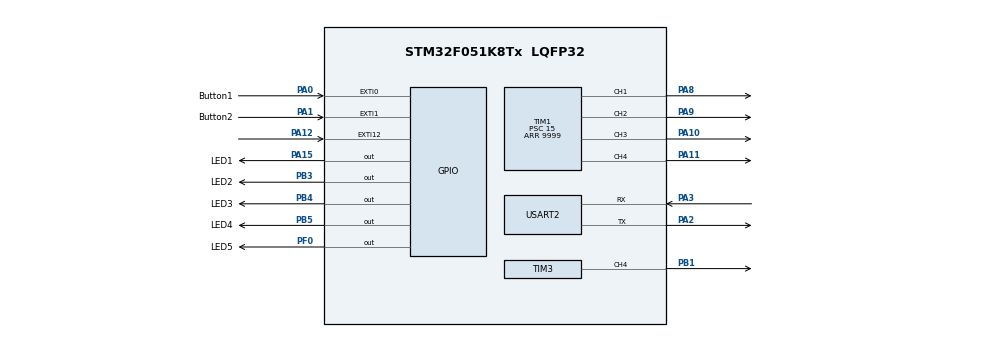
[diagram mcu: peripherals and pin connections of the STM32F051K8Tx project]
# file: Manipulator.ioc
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Mcu.Family=STM32F0
Mcu.Name=STM32F051K8Tx
Mcu.Package=LQFP32
NVIC.USART2_IRQn=true\:0\:0\:false\:false\:true\:true\:true
PA0.GPIO_Label=Button1
PA0.Signal=GPXTI0
PA1.GPIO_Label=Button2
PA1.Signal=GPXTI1
PA10.Signal=S_TIM1_CH3
PA11.Signal=S_TIM1_CH4
PA12.Signal=GPXTI12
PA13.Mode=Serial_Wire
PA13.Signal=SYS_SWDIO
PA14.Mode=Serial_Wire
PA14.Signal=SYS_SWCLK
PA15.GPIO_Label=LED1
PA15.Signal=GPIO_Output
PA2.Mode=Asynchronous
PA2.Signal=USART2_TX
PA3.Mode=Asynchronous
PA3.Signal=USART2_RX
PA8.Signal=S_TIM1_CH1
PA9.Signal=S_TIM1_CH2
PB1.Signal=S_TIM3_CH4
PB3.GPIO_Label=LED2
PB3.Signal=GPIO_Output
PB4.GPIO_Label=LED3
PB4.Signal=GPIO_Output
PB5.GPIO_Label=LED4
PB5.Signal=GPIO_Output
PF0-OSC_IN.GPIO_Label=LED5
PF0-OSC_IN.Signal=GPIO_Output
ProjectManager.HeapSize=0x200
ProjectManager.StackSize=0x400
ProjectManager.TargetToolchain=TrueSTUDIO
SH.S_TIM1_CH1.0=TIM1_CH1,PWM Generation1 CH1
SH.S_TIM1_CH2.0=TIM1_CH2,PWM Generation2 CH2
SH.S_TIM1_CH3.0=TIM1_CH3,PWM Generation3 CH3
SH.S_TIM1_CH4.0=TIM1_CH4,PWM Generation4 CH4
SH.S_TIM3_CH4.0=TIM3_CH4,PWM Generation4 CH4
TIM1.Channel-PWM\ Generation1\ CH1=TIM_CHANNEL_1
TIM1.Channel-PWM\ Generation2\ CH2=TIM_CHANNEL_2
TIM1.Channel-PWM\ Generation3\ CH3=TIM_CHANNEL_3
TIM1.Channel-PWM\ Generation4\ CH4=TIM_CHANNEL_4
TIM1.Period=9999
TIM1.Prescaler=15
TIM1.Pulse-PWM\ Generation1\ CH1=1036
TIM1.Pulse-PWM\ Generation2\ CH2=725
TIM1.Pulse-PWM\ Generation3\ CH3=1097
TIM1.Pulse-PWM\ Generation4\ CH4=1206
TIM3.Channel-PWM\ Generation4\ CH4=TIM_CHANNEL_4
TIM3.Period=9999
TIM3.Prescaler=15
TIM3.Pulse-PWM\ Generation4\ CH4=1000
USART2.VirtualMode-Asynchronous=VM_ASYNC
VP_TIM1_VS_ClockSourceINT.Mode=Internal
VP_TIM3_VS_ClockSourceINT.Mode=Internal
board=custom

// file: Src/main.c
/* USER CODE BEGIN Header */
/**
 ******************************************************************************
 * @file           : main.c
 * @brief          : Main program body
 ******************************************************************************
 * @attention
 *
 * <h2><center>&copy; Copyright (c) 2019 STMicroelectronics.
 * All rights reserved.</center></h2>
 *
 * This software component is licensed by ST under BSD 3-Clause license,
 * the "License"; You may not use this file except in compliance with the
 * License. You may obtain a copy of the License at:
 *                        opensource.org/licenses/BSD-3-Clause
 *
 ******************************************************************************
 */
/* USER CODE END Header */

#include "main.h"
#include "tim.h"
#include "usart.h"
#include "gpio.h"

/* USER CODE BEGIN Includes */
#include <math.h>
/* USER CODE END Includes */

/* USER CODE BEGIN PD */
/*!
	\brief Wysokość podstawy.

	Wysokość podstawy.
*/
#define L1 	5		//Wysokosc podstawy
/*!
	\brief Długość pierwszego członu.

	Długość pierwszego członu.
*/
#define L2 	8.2		//Dlugosc pierwszego czlonu
/*!
	\brief Długość drugiego członu.

	Długość drugiego członu.
*/
#define L3 	7.7		//Dlugosc drugiego czlonu
/*!
	\brief Długość między przegubem, a osią serwomechanizmu od chwytaka.

	Długość między przegubem, a osią serwomechanizmu od chwytaka.
*/
#define L4 	4		//Dlugosc miedzy przegubem, a osia serwa od chwytaka
/*!
	\brief Obniżenie na chwytaku.

	Obniżenie na chwytaku.
*/
#define L5 	2.1		//Obnizenie na chwytaku
/*!
	\brief Długosc między osią serwomechanizmu chwytaka, a punktem chwytu.

	Długosc między osią serwomechanizmu chwytaka, a punktem chwytu.
*/
#define L6 	6		//Dlugosc miedzy osia serwa chwytaka, a punktem chwytu

/* USER CODE END PD */

/* USER CODE BEGIN PV */

/*!
 * \brief Tablica z kolejnymi maksymalnymi wartościami współrzędnej Z.
 *
 * Tablica z kolejnymi maksymalnymi wartościami współrzędnej Z, poczynając od r = 18, aż do r = 27, gdzie r jest długością ramienia
 * od środka podastawy do końca chwytaka.
 */
int16_t MaxymalneZ[] = {19, 19, 19, 18, 17, 16, 15, 13, 11, 9};

/*!
 * \brief Zmienna przechowująca odebrane dane.
 *
 * Zmienna przechowująca odebrane dane.
 */
char rx_data= '0';

/*!
 * \brief Tablica przechowująca dane do wysłania.
 *
 * Tablica przechowująca dane do wysłania.
 */
char tx_data[32];

/*!
 * \brief Flaga ustawiana przy odebraniu danych z USART-a.
 *
 * Flaga ustawiana przy odebraniu danych z USART-a.
 */
volatile uint8_t usart_rx;

/*!
 * \brief Flaga ustawiana po wysłaniu danych z USART-a.
 *
 * Flaga ustawiana po wysłaniu danych z USART-a.
 */
volatile uint8_t usart_tx;

/* USER CODE END PV */

void SystemClock_Config(void);
/* USER CODE BEGIN PFP */

/*!
 *  \brief Funkcja odbierająca jeden znak z USART-a oraz wysyłająca ten sam znak z powrotem.
 *
 *  Funkcja pozwala odebrać jeden znak wysłany z komputera oraz wysłać z powrotem ten sam znak.
 *
 *  \return Znak odebrany od urządzenia zewnętrznego.
 */
char UartEcho(void)
{
	usart_rx= 0;
	HAL_UART_Receive_IT(&huart2,(unsigned char*)&rx_data,1);
	while(!usart_rx);
	usart_tx= 0;
	HAL_UART_Transmit_IT(&huart2,(unsigned char*)&rx_data,1);
	while(!usart_tx);
	return rx_data;
}

/*!
 *  \brief Funkcja pozwalająca wysłać ciąg znaków do zewnętrznego urządzenia (terminalu)
 *
 *  Funkcja pozwalająca wysłać ciąg znaków podanych jako parametr do zewnętrznego urządzenia (terminalu)
 *  \param[in] str - ciąg znaków, które chcemy wysłać.
 *
 *  \return Liczbę nieprzesłanych znaków.
 */
int UartPrint(char * str)
{
	int strsize= sprintf(tx_data,str);
	if(strsize > 0)
	{
		usart_tx= 0;
		HAL_UART_Transmit_IT(&huart2,(unsigned char*)tx_data,strsize);
		while(!usart_tx);
	}
	return strsize;
}

/*!
 *  \brief Funkcja pozwalająca wysłac liczbę całkowitą przez USART-a.
 *
 *  Funkcja pozwalająca wysłać liczbę całkowitą przez USART-a.
 *  \param[in] liczba - Liczba całkowita do wysłania
 *
 *  return Liczbę nieprzesłanych znaków.
 */
int UartPrintInt(int liczba)
{
	char str[12];
	int strsize= sprintf(str,"%d",liczba);
	if(strsize > 0)
		return UartPrint(str);
	return strsize;
}

/*!
 *  \brief Funkcja pozwalająca odebrać liczbę całkowitą.
 *
 *  Funkcja pozwalająca odebrać liczbę całkowitą.
 *  \param[in] num - wskaźnik na zmiennę, do której ma zostac zapisana odebrana liczba.
 *  \param[in] min - minimalna liczba jaką spodziewamy się odbierać.
 *  \param[in] max - maksymalna liczba jaką spodziewamy się odbierać.
 *
 *  \retval 1 - odebrano liczbę.
 *  \retval 0 - w odebranych danych był znak 'x' lub 'ESC'
 */
int UartReadInt( int * num, int min, int max )
{
	int suma= 0;
	char znak= '0';
	uint8_t minus = 0;
	while(znak != '\r' && znak != '\n' && znak != 'u')
	{
		znak= UartEcho();
		if(znak == 27 || znak == 'x')return 0;
		if(znak == '-') minus = 1;
		if(znak >= '0' && znak <= '9' && suma < max)
			suma= suma*10 + znak - '0';
	}
	*num= suma > min ? suma < max ? suma : max : min;
	if(minus == 1) *num = -(*num);
	return 1;
}

/*!
 *  \brief Funkcja obsługująca przerwanie po odebraniu danych.
 *
 *  Funkcja obsługująca przerwanie po odebraniu danych.
 */
void HAL_UART_RxCpltCallback(UART_HandleTypeDef *huart)
{
	usart_rx= 1;
}

/*!
 *  \brief Funkcja obsługująca przerwanie po wysłaniu danych.
 *
 *  Funkcja obsługująca przerwanie po wysłaniu danych.
 */
void HAL_UART_TxCpltCallback(UART_HandleTypeDef *huart)
{
	usart_tx= 1;
}

/*!
 *  \brief Redefinicja funkcji pozwalającej zatrzymać działanie programu na podany czas w milisekundach.
 *
 *  Redefinicja funkcji pozwalającej zatrzymać działanie programu na podany czas w milisekundach.
 *  \param[in] Delay - czas w milisekundach, na który należy wstrzymać działanie programu.
 */
__weak void HAL_Delay(__IO uint32_t Delay)

{

	uint32_t tickstart = 0;

	tickstart = HAL_GetTick();

	while ((HAL_GetTick() - tickstart) < Delay)

	{

	}

}

/*!
 *  \brief Funkcja pozwalająca podnieść pierwszy przegub o zadany kąt.
 *
 *   Funkcja pozwalająca podnieść pierwszy przegub o zadany kąt. Pozwala regulować prędkością tego ruchu, poprzez podzielenie
 *   kąta o jaki należy obrócic przegub na mniejszcze kąty oraz ustalic czas w milisekundach między kolejnymi obrotami o podane
 *   mniejsze kąty.
 *
 *   \param[in] alpha - kąt o jaki należy obrócic przegub.
 *   \param[in] del - przerwa w milisekundach, między kolejnymi obrotami o mniejsze kąty.
 *   \param[in] skok - wartość o jaka będzie się zmieniac wartość w rejestrze pozwalająca określić jak małe będą kąty pośrednie.
 *
 *   \retval 0 - zwraca kiedy funkcja się zakończy.
 */
uint8_t moveAlpha(uint16_t alpha, uint16_t del, uint16_t skok) {
	int pwm = 0;
	int i = 0;

	if(TIM1->CCR4 == 0)
	{
		for (i = 970; i < 1206 - skok; i += skok)
		{
			TIM1->CCR4 = i;

			HAL_Delay(del);
		}
	}

	if (alpha >= 70 && alpha <= 105)
	{
		pwm = (int) (alpha * 5.1); // przelicznik kąta na skale pwm
		pwm += 670;
		i = TIM1->CCR4;

		// punkt poczatkowy (90stopni) to 670
	} else if (alpha >= 0 && alpha <= 70)
	{
		pwm = (int) (alpha * 5.3); // przelicznik kąta na skale pwm
		pwm += 670;

	} else {
		return 1;
	}

	i = TIM1->CCR4;
	if (i < pwm) {
		for (; i < pwm - skok; i += skok) {

			TIM1->CCR4 = i;

			HAL_Delay(del);

		}

	} else if (i > pwm) {
		for (; i > pwm + skok; i -= skok) {

			TIM1->CCR4 = i;

			HAL_Delay(del);
		}
	}
	TIM1->CCR4 = pwm;
	return 0;

}

/*!
 *  \brief Funkcja pozwalająca zmieniać kąt między pierwszym i drugim przegubem.
 *
 *   Funkcja pozwalająca zmieniać kąt między pierwszym i drugim przegubem. Pozwala regulować prędkością tego ruchu, poprzez podzielenie
 *   kąta o jaki należy obrócic przegub na mniejszcze kąty oraz ustalic czas w milisekundach między kolejnymi obrotami o podane
 *   mniejsze kąty.
 *
 *   \param[in] beta - kąt o jaki należy obrócic przegub.
 *   \param[in] del - przerwa w milisekundach, między kolejnymi obrotami o mniejsze kąty.
 *   \param[in] skok - wartość o jaka będzie się zmieniac wartość w rejestrze pozwalająca określić jak małe będą kąty pośrednie.
 *
 *   \retval 0 - zwraca kiedy funkcja się zakończy.
 */
 */
uint8_t moveBeta(uint16_t beta, uint16_t del, uint16_t skok) {
	int pwm = 0;
	int i = 0;

	if(TIM1->CCR3 == 0)
	{
		for (i = 670; i < 1097 - skok; i += skok)
		{
			TIM1->CCR3 = i;

			HAL_Delay(del);
		}
	}

	if (beta > 68 && beta < 160) {
		pwm = (int) ((beta - 68) * 6.1); // przelicznik kąta na skale pwm

	} else if (beta >= 160 && beta < 250) {
		pwm = (int) ((beta - 68) * 5.4); // przelicznik kąta na skale pwm

	} else {
		return 1;
	}

	pwm = 1250 - pwm; // punkt poczatkowy (90stopni) to 670

	// punkt poczatkowy (90stopni) to 670
	i = TIM1->CCR3;
	if (i < pwm) {
		for (; i < pwm; i += skok) {

			TIM1->CCR3 = i;

			HAL_Delay(del);

		}

	} else if (i > pwm) {
		for (; i > pwm; i -= skok) {

			TIM1->CCR3 = i;

			HAL_Delay(del);
		}
	}

	TIM1->CCR3 = pwm;
	return 0;

}

/*!
 *  \brief Funkcja pozwalająca zmieniać kąt między drugim przegubem, a chwytakiem.
 *
 *   Funkcja pozwalająca zmieniać kąt między drugim przegubem, a chwytakiem. Pozwala regulować prędkością tego ruchu, poprzez podzielenie
 *   kąta o jaki należy obrócic przegub na mniejszcze kąty oraz ustalic czas w milisekundach między kolejnymi obrotami o podane
 *   mniejsze kąty.
 *
 *   \param[in] gamma - kąt o jaki należy obrócic przegub.
 *   \param[in] del - przerwa w milisekundach, między kolejnymi obrotami o mniejsze kąty.
 *   \param[in] skok - wartość o jaka będzie się zmieniac wartość w rejestrze pozwalająca określić jak małe będą kąty pośrednie.
 *
 *   \retval 0 - zwraca kiedy funkcja się zakończy.
 */

uint8_t moveGamma(uint16_t gamma, uint16_t del, uint16_t skok) {

	int pwm = 0;
	int i = 0;

	if(TIM1->CCR1 == 0)
	{
		for (i = 670; i < 1036 - skok; i += skok)
		{
			TIM1->CCR1 = i;

			HAL_Delay(del);
		}
	}

	if (gamma > 110 && gamma < 250) {
		pwm = (int) ((gamma - 110) * 4.5); // przelicznik kąta na skale pwm

	} else if (gamma >= 250 && gamma < 294) {
		pwm = (int) ((gamma - 110) * 4.85); // przelicznik kąta na skale pwm

	} else {
		return 1;
	}

	pwm += 250; // punkt poczatkowy (90stopni) to 670

	// punkt poczatkowy (90stopni) to 670
	i = TIM1->CCR1;
	if (i < pwm) {
		for (; i < pwm - skok; i += skok) {

			TIM1->CCR1 = i;

			HAL_Delay(del);

		}

	} else if (i > pwm) {
		for (; i > pwm + skok; i -= skok) {

			TIM1->CCR1 = i;

			HAL_Delay(del);
		}
	}

	TIM1->CCR1 = pwm;
	return 0;

}

/*!
 *  \brief Funkcja pozwalająca zmieniać kąt obrotu manipulatora.
 *
 *  Funkcja pozwalająca zmieniać kąt obrotu manipulatora. Pozwala regulować prędkością tego ruchu, poprzez podzielenie
 *   kąta o jaki należy obrócic przegub na mniejszcze kąty oraz ustalic czas w milisekundach między kolejnymi obrotami o podane
 *   mniejsze kąty.
 *
 *   \param[in] zero - kąt o jaki należy obrócic przegub.
 *   \param[in] del - przerwa w milisekundach, między kolejnymi obrotami o mniejsze kąty.
 *   \param[in] skok - wartość o jaka będzie się zmieniac wartość w rejestrze pozwalająca określić jak małe będą kąty pośrednie.
 *
 *   \retval 0 - zwraca kiedy funkcja się zakończy.
 */
uint8_t moveZero(uint16_t zero, uint16_t del, uint16_t skok) {
	int i = 0;
	int pwm = 0;

	if(TIM1->CCR2 == 0)
	{
		for (i=670; i < 725 - skok; i += skok)
		{
			TIM1->CCR2 = i;

			HAL_Delay(del);
		}
	}

	if (zero > 0 && zero < 100) {
		pwm = (int) (zero * 5.05);

	} else if (zero >= 100 && zero < 175) {
		pwm = (int) (zero * 5.6);

	} else {
		return 1;
	}

	pwm += 270;

	// punkt poczatkowy (90stopni) to 670
	i = TIM1->CCR2;
	if (i < pwm) {
		for (; i < pwm - skok; i += skok) {

			TIM1->CCR2 = i;

			HAL_Delay(del);

		}

	} else if (i > pwm) {
		for (; i > pwm + skok; i -= skok) {

			TIM1->CCR2 = i;

			HAL_Delay(del);
		}
	}

	TIM1->CCR2 = pwm;
	return 0;

}

/*!
 * \brief Funkcja pozwalająca zamknąć chwytak.
 *
 *  Funkcja pozwalająca zamknąć chwytak.
 */
void closeGrip(){
	if(TIM3->CCR4!=1160){
	for(int i = 1000;  i<1160; i+=5)
	{TIM3->CCR4=i;}}
	else return;

}

/*!
 * \brief Funkcja pozwalająca otworzyć chwytak.
 *
 *  Funkcja pozwalająca otworzyć chwytak.
 */
void openGrip(){
	if(TIM3->CCR4!=1000){
		for(int i = 1160;  i>1000; i-=5)
	{TIM3->CCR4=i;}}
	else return ;

}

/*!
 *  \brief Funkcja ustawiająca manipulator w pozycji początkowej.
 *
 *  Funkcja ustawiająca manipulator w pozycji początkowy.
 */
uint8_t PozycjaPoczatkowa() {
	moveAlpha(100, 10, 5);
	moveGamma(250, 10, 5);
	moveBeta(90, 10, 5);
	moveZero(90, 10, 5);
	openGrip();

	return 0;
}

/*!
 * 	\brief Funkcja ustawiająca manipulator w zadanym punkcie przestrzeni zadaniowej.
 *
 * 	Funkcja ustawiająca manipulator w zadanym punkcie przestrzeni zadaniowej. Wykorzystuje ona do obliczenia odpowiednich kątów
 * 	kinematykę odwrotną podaną w postaci jawnej. Po obliczeniu kątów ustawia je powodując ruch manipulatora.
 *
 * 	\param[in] X - współrzędna X w przestrzeni zadaniowej.
 * 	\param[in] Y - współrzędna Y w przestrzeni zadaniowej.
 * 	\param[in] Z - współrzędna Z w przestrzeni zadaniowej.
 *
 * 	\retval 0 - kiedy funkcja zakończy się poprawnie.
 * 	\retval 1 - kiedy podane współrzędne wykraczają poza przestrzeń zadaniową. Próbujemy obrócic manipulator za daleko.
 * 	\retval 2 - kiedy podane współrzędne wykraczają poza przestrzeń zadaniową. Próbujemy sięgnąc za daleko lub za blisko.
 * 	\retval 3 - kiedy podane współrzędne wykraczają poza przestrzeń zadaniową. Próbujemy ustaic ostatni człon manipulatora za wysoko.
 *
 */
uint8_t UstawManipulator(int16_t X, int16_t Y, int16_t Z) {

	//Jezeli x sa male to nie mozna dac ujemnych y (kat zero do 175 stopni)
	if(X <= 1 && Y < 0)
	{
		return 1;
	}

	//Sprawdza czy wspolrzedne mieszcza sie w zasiegu ramienia
	if(pow(X,2) + pow(Y,2) > 729 || pow(X,2) + pow(Y,2) < 314)
	{
		return 2;
	}

	int zasieg = ceil(sqrt(pow(X,2) + pow(Y,2)));

	//Sprawdza czy nie probujemy podnies chwytaka zbyt wysoko lub nisko
	if(Z > MaxymalneZ[zasieg-18] || Z < 1)
	{
		return 3;
	}

	UartPrintInt(Y);
	float alpha = 0;
	float beta = 0;
	float gamma = 0;
	float zero = 0;
	float pom1 = 0;
	float pom2 = 0;

	Z -= L1;

	float r = sqrt(pow(X, 2) + pow(Y, 2));
	float r1 = r - L4 - L6;
	float a = sqrt(pow(r1, 2) + pow(Z, 2));

	beta = acos(
			(float) (pow(L2, 2) + pow(L3, 2) - pow(a, 2))
					/ (float) (2 * L2 * L3));
	pom1 = asin((float) Z / a);
	pom2 = asin((sin(beta) * L2) / a);
	alpha = pom1 + pom2;
	gamma = 2 * M_PI - beta - alpha;

	zero = acos((float) Y / r);

	int kat0 = round(zero * 180 / M_PI);
	int kat1 = round(alpha * 180 / M_PI);
	int kat2 = round(beta * 180 / M_PI);
	int kat3 = round(gamma * 180 / M_PI);

	UartPrintInt(0);
	moveZero(kat0, 20, 5);
	moveAlpha(kat1, 20, 5);
	moveBeta(kat2, 20, 5);
	moveGamma(kat3, 20, 5);

	return 0;

}

/*!
 * \brief Funkcja pozwalająca przemieścić chwytak po lini prostej (możliwie dokładnie).
 *
 * Funkcja pozwalająca przemieścić chwytak po linii prostej (możliwie dokładnie).
 *
 * \param[in] X1 - współrzędna X w przestrzeni zadaniowej, w której znajduje się chwytak na początku ruchu.
 * \param[in] Y1 - współrzędna Y w przestrzeni zadaniowej, w której znajduje się chwytak na początku ruchu.
 * \param[in] Z1 - współrzędna Z w przestrzeni zadaniowej, w której znajduje się chwytak na początku ruchu.
 * \param[in] X2 - współrzędna X w przestrzeni zadaniowej, do której chcemy przemieścic chwytak.
 * \param[in] Y2 - współrzędna Y w przestrzeni zadaniowej, do której chcemy przemieścic chwytak.
 * \param[in] Z2 - współrzędna Z w przestrzeni zadaniowej, do której chcemy przemieścic chwytak.
 * \param[in] Dokladnosc - ilość punktów pośrednich między pozycją początkową, a końcową (maksymalnie 20).
 *
 * \retval 0 - kiedy chwytak został przesunięty.
 * \retval 1 - kiedy chwytak nie został przesunięty (pozycja początkowa i końcowa jest identyczna).
 *
 */
uint8_t MoveL(int16_t X1, int16_t Y1, int16_t Z1, int16_t X2, int16_t Y2, int16_t Z2, uint8_t Dokladnosc)
{
	if(Dokladnosc > 20 || Dokladnosc == 0) Dokladnosc = 20;

	int16_t OdlegloscX = abs(X1-X2);
	int16_t OdlegloscY = abs(Y1-Y2);
	int16_t OdlegloscZ = abs(Z1-Z2);
	float Podzial = 1;
	int16_t x, y, z;

	if (OdlegloscX > 0)
	{
		if (OdlegloscX >= OdlegloscY && OdlegloscX >= OdlegloscZ)
		{
			if (OdlegloscX >= Dokladnosc)
				Podzial = (float)(OdlegloscX/(float)Dokladnosc);
			else
				Podzial = 1;

			if (OdlegloscY > 0 && OdlegloscZ > 0)
			{
				x = X1;

				while ((X1 > X2 && floor(x - Podzial) > X2) || (X1 < X2 && floor(x + Podzial) < X2))
				{
	                    if( X1 > X2)
	                        x = floor(x - Podzial);
	                    else
	                        x = floor(x + Podzial);

	                    y = floor(((x - X1)*(Y2 - Y1)/(X2 - X1)) + Y1);
	                    z = floor(((x - X1)*(Z2 - Z1)/(X2 - X1)) + Z1);

	                    UstawManipulator(x,y,z);
				}

				UstawManipulator(X2,Y2,Z2);

			}
			else if (OdlegloscY > 0 && OdlegloscZ <= 0)
			{
				x = X1;

				while ((X1 > X2 && floor(x - Podzial) > X2) || (X1 < X2 && floor(x + Podzial) < X2))
				{
					if (X1 > X2)
						x = floor(x - Podzial);
					else
						x = floor(x + Podzial);

					y = floor(((x - X1) * (Y2 - Y1) / (X2 - X1)) + Y1);
					z = Z1;

					UstawManipulator(x, y, z);
				}

				UstawManipulator(X2, Y2, Z2);
			}
			else if( OdlegloscZ > 0 && OdlegloscY <= 0)
			{
				x = X1;

				while ((X1 > X2 && floor(x - Podzial) > X2) || (X1 < X2 && floor(x + Podzial) < X2))
				{
					if (X1 > X2)
						x = floor(x - Podzial);
					else
						x = floor(x + Podzial);

					y = Y1;
					z = floor(((x - X1)*(Z2 - Z1)/(X2 - X1)) + Z1);

					UstawManipulator(x, y, z);
				}

				UstawManipulator(X2, Y2, Z2);

			}
			else if (OdlegloscZ <= 0 && OdlegloscY <= 0)
			{
				x = X1;

				while((X1 > X2 && floor(x - Podzial) > X2) || (X1 < X2 && floor(x + Podzial) < X2))
				{
					if (X1 > X2)
						x = floor(x - Podzial);
					else
						x = floor(x + Podzial);

					y = Y1;
					z = Z1;

					UstawManipulator(x, y, z);
				}

				UstawManipulator(X2, Y2, Z2);
			}

			return 0;
		}
	}

	if (OdlegloscY > 0)
	{
		if (OdlegloscY >= OdlegloscX && OdlegloscY >= OdlegloscZ)
		{
			if (OdlegloscY >= Dokladnosc)
				Podzial = (float)(OdlegloscY / (float)Dokladnosc);
			else
				Podzial = 1;

			if (OdlegloscX > 0 && OdlegloscZ > 0)
			{
				y = Y1;

				while ((Y1 > Y2 && floor(y - Podzial) > Y2) || (Y1 < Y2 && floor(y + Podzial) < Y2))
				{
					if (Y1 > Y2)
						y = floor(y - Podzial);
					else
						y = floor(y + Podzial);

					x = floor(((y - Y1) * (X2 - X1) / (Y2 - Y1)) + X1);
					z = floor(((y - Y1) * (Z2 - Z1) / (Y2 - Y1)) + Z1);

					UstawManipulator(x, y, z);
				}

				UstawManipulator(X2, Y2, Z2);

			}
			else if (OdlegloscX > 0 && OdlegloscZ <= 0)
			{
				y = Y1;

				while ((Y1 > Y2 && floor(y - Podzial) > Y2) || (Y1 < Y2 && floor(y + Podzial) < Y2))
				{
					if (Y1 > Y2)
						y = floor(y - Podzial);
					else
						y = floor(y + Podzial);

					x = floor(((y - Y1) * (X2 - X1) / (Y2 - Y1)) + X1);
					z = Z1;

					UstawManipulator(x, y, z);
				}

				UstawManipulator(X2, Y2, Z2);

			}
			else if (OdlegloscZ > 0 && OdlegloscX <= 0)
			{
				y = Y1;

				while ((Y1 > Y2 && floor(y - Podzial) > Y2) || (Y1 < Y2 && floor(y + Podzial) < Y2))
				{
					if (Y1 > Y2)
						y = floor(y - Podzial);
					else
						y = floor(y + Podzial);

					x = X1;
					z = floor(((y - Y1) * (Z2 - Z1) / (Y2 - Y1)) + Z1);

					UstawManipulator(x, y, z);
				}

				UstawManipulator(X2, Y2, Z2);
			}
			else if (OdlegloscZ <= 0 && OdlegloscX <= 0)
			{
				y = Y1;

				while ((Y1 > Y2 && floor(y - Podzial) > Y2) || (Y1 < Y2 && floor(y + Podzial) < Y2))
				{
					if(Y1 > Y2)
						y = floor(y - Podzial);
					else
						y = floor(y + Podzial);

					x = X1;
					z = Z1;

					UstawManipulator(x, y, z);
				}

				UstawManipulator(X2, Y2, Z2);
			}

			return 0;
		}

	}

	if (OdlegloscZ > 0)
	{
		if (OdlegloscZ >= OdlegloscX && OdlegloscZ >= OdlegloscY)
		{
			if (OdlegloscZ >= Dokladnosc)
				Podzial = (float)(OdlegloscZ / (float)Dokladnosc);
			else
				Podzial = 1;

			if (OdlegloscX > 0 && OdlegloscY > 0)
			{
				z = Z1;

				while ((Z1 > Z2 && floor(z - Podzial) > Z2) || (Z1 < Z2 && floor(z + Podzial) < Z2))
				{
					if (Z1 > Z2)
						z = floor(z - Podzial);
					else
						z = floor(z + Podzial);

					x = floor(((z - Z1) * (X2 - X1) / (Z2 - Z1)) + X1);
					y = floor(((z - Z1) * (Y2 - Y1) / (Z2 - Z1)) + Y1);

					UstawManipulator(x, y, z);
				}

				UstawManipulator(X2, Y2, Z2);

			}
			else if (OdlegloscX > 0 && OdlegloscY <= 0)
			{
				z = Z1;

				while ((Z1 > Z2 && floor(z - Podzial) > Z2) || (Z1 < Z2 && floor(z + Podzial) < Z2))
				{
					if (Z1 > Z2)
						z = floor(z - Podzial);
					else
						z = floor(z + Podzial);

					x = floor(((z - Z1) * (X2 - X1) / (Z2 - Z1)) + X1);
					y = Y1;

					UstawManipulator(x, y, z);
				}

				UstawManipulator(X2, Y2, Z2);

			}
			else if (OdlegloscY > 0 && OdlegloscX <= 0)
			{
				z = Z1;

				while ((Z1 > Z2 && floor(z - Podzial) > Z2) || (Z1 < Z2 && floor(z + Podzial) < Z2))
				{
					if (Z1 > Z2)
						z = floor(z - Podzial);
					else
						z = floor(z + Podzial);

					x = X1;
					y = floor(((z - Z1) * (Y2 - Y1) / (Z2 - Z1)) + Y1);

					UstawManipulator(x, y, z);
				}

				UstawManipulator(X2, Y2, Z2);

			}
			else if (OdlegloscY <= 0 && OdlegloscX <= 0)
			{
				z = Z1;

				while ((Z1 > Z2 && floor(z - Podzial) > Z2) || (Z1 < Z2 && floor(z + Podzial) < Z2))
				{
					if (Z1 > Z2)
						z = floor(z - Podzial);
					else
						z = floor(z + Podzial);

					x = X1;
					y = Y1;

					UstawManipulator(x, y, z);
				}

				UstawManipulator(X2, Y2, Z2);
			}

			return 0;
		}
	}

	return 1;

}

/* USER CODE END PFP */

int main(void)
{

  /* MCU Configuration--------------------------------------------------------*/

  /* Reset of all peripherals, Initializes the Flash interface and the Systick. */
  HAL_Init();

  /* Configure the system clock */
  SystemClock_Config();

  /* Initialize all configured peripherals */
  MX_GPIO_Init();
  MX_TIM1_Init();
  MX_TIM3_Init();
  MX_USART2_UART_Init();
  /* USER CODE BEGIN 2 */
  HAL_TIM_PWM_Start(&htim1, TIM_CHANNEL_4);
  HAL_TIM_PWM_Start(&htim1, TIM_CHANNEL_1);
  HAL_TIM_PWM_Start(&htim1, TIM_CHANNEL_2);
  HAL_TIM_PWM_Start(&htim1, TIM_CHANNEL_3);
  HAL_TIM_PWM_Start(&htim3, TIM_CHANNEL_4);

  //HAL_UART_RxCpltCallback(&huart1);
//PozycjaPoczatkowa();
//UstawManipulator(20,0,3);
//HAL_Delay(10000);
//closeGrip();
//HAL_Delay(10000);
//UstawManipulator(20,0,6);
//HAL_Delay(5000);
//UstawManipulator(17,10,6);
//HAL_Delay(10000);
//UstawManipulator(17,10,3);
//HAL_Delay(3000);
//openGrip();
//HAL_Delay(1000);
//PozycjaPoczatkowa();

	int X1 = 0, Y1 = 0, X2 = 0, Y2 = 0;
	uint8_t PoprawneWspolrzedne = 0;

	UartPrint("Witamy w interfejsie manipulatora\r\n");
	UartPrint("\r\nMenu: \r\n");
	UartPrint("p - Przenies pionek\r\n");
	UartPrint("m - menu\r\n");
  /* USER CODE END 2 */

  /* Infinite loop */
  /* USER CODE BEGIN WHILE */
  while (1){

	  if(rx_data != '\0')
	  {
			switch(rx_data)
			{
				case 'p':

					PoprawneWspolrzedne = 0;

					while(PoprawneWspolrzedne == 0)
					{
						UartPrint("Podaj obecna wspolrzedna X pionka: \r\n");
						UartReadInt(&X1,0,27);
						UartPrint("\r\nPodaj obecna wspolrzedna Y pionka: \r\n");
						UartReadInt(&Y1,0,27);

						if(X1 <= 1 && Y1 < 0)
						{
							UartPrint("Podane wspolrzedne sa nieprawidlowe, wychodza poza przestrzen zadaniowa, dla X <= 1, Y musi byc dodatnie ! \r\n");
							UartPrint("Sprobuje jeszcze raz\r\n");
							continue;
						}

						if(pow(X1,2) + pow(Y1,2) > 729 || pow(X1,2) + pow(Y1,2) < 314)
						{
							UartPrint("Podane wspolrzedne sa nieprawidlowe, wychodza poza przestrzen zadaniowa, dla X <= 1, Y musi byc dodatnie ! \r\n");
							UartPrint("Sprobuje jeszcze raz\r\n");
							continue;
						}

						PoprawneWspolrzedne = 1;

					}

					PoprawneWspolrzedne = 0;

					while(PoprawneWspolrzedne == 0)
					{
						UartPrint("\r\nPodaj wspolrzedna X, na ktora ustawic pionka: \r\n");
						UartReadInt(&X2,0,27);
						UartPrint("\r\nPodaj wspolrzedna Y, na ktora ustawic pionka: \r\n");
						UartReadInt(&Y2,0,27);

						if(X2 <= 1 && Y2 < 0)
						{
							UartPrint("Podane wspolrzedne sa nieprawidlowe, wychodza poza przestrzen zadaniowa, dla X <= 1, Y musi byc dodatnie ! \r\n");
							UartPrint("Sprobuje jeszcze raz\r\n");
							continue;
						}

						if(pow(X2,2) + pow(Y2,2) > 729 || pow(X2,2) + pow(Y2,2) < 314)
						{
							UartPrint("Podane wspolrzedne sa nieprawidlowe, wychodza poza przestrzen zadaniowa, dla X <= 1, Y musi byc dodatnie ! \r\n");
							UartPrint("Sprobuje jeszcze raz\r\n");
							continue;
						}

						PoprawneWspolrzedne = 1;
					}

					PozycjaPoczatkowa();
					HAL_Delay(2000);
					UstawManipulator(X1,Y1,3);
					HAL_Delay(3000);
					closeGrip();
					HAL_Delay(3000);
					MoveL(X1,Y1,3,X1,Y1,6,20);
					HAL_Delay(3000);
					MoveL(X1,Y1,6,X2,Y2,6,20);
					HAL_Delay(5000);
					MoveL(X2,Y2,6,X2,Y2,3,20);
					HAL_Delay(3000);
					openGrip();
					HAL_Delay(1000);
					PozycjaPoczatkowa();
					HAL_Delay(2000);

					UartPrint("\r\nGotowe\r\n");
					UartPrint("Podaj nowa komende\r\n");
					break;

				case 'm':
					UartPrint("\r\nMenu: \r\n");
					UartPrint("p - Przenies pionek\r\n");
					UartPrint("m - menu\r\n");

					break;

				default:
					UartPrint("Odczytano kod: ");
					UartPrintInt((int)rx_data);
					UartPrint("\r\n");
			}
	  }

	  rx_data= '\0';

	  HAL_UART_Receive_IT(&huart2,(unsigned char*)&rx_data,1);

    /* USER CODE END WHILE */

	}
}

void SystemClock_Config(void)
{
  RCC_OscInitTypeDef RCC_OscInitStruct = {0};
  RCC_ClkInitTypeDef RCC_ClkInitStruct = {0};

  /** Initializes the CPU, AHB and APB busses clocks
  */
  RCC_OscInitStruct.OscillatorType = RCC_OSCILLATORTYPE_HSI;
  RCC_OscInitStruct.HSIState = RCC_HSI_ON;
  RCC_OscInitStruct.HSICalibrationValue = RCC_HSICALIBRATION_DEFAULT;
  RCC_OscInitStruct.PLL.PLLState = RCC_PLL_NONE;
  if (HAL_RCC_OscConfig(&RCC_OscInitStruct) != HAL_OK)
  {
    Error_Handler();
  }
  /** Initializes the CPU, AHB and APB busses clocks
  */
  RCC_ClkInitStruct.ClockType = RCC_CLOCKTYPE_HCLK|RCC_CLOCKTYPE_SYSCLK
                              |RCC_CLOCKTYPE_PCLK1;
  RCC_ClkInitStruct.SYSCLKSource = RCC_SYSCLKSOURCE_HSI;
  RCC_ClkInitStruct.AHBCLKDivider = RCC_SYSCLK_DIV1;
  RCC_ClkInitStruct.APB1CLKDivider = RCC_HCLK_DIV1;

  if (HAL_RCC_ClockConfig(&RCC_ClkInitStruct, FLASH_LATENCY_0) != HAL_OK)
  {
    Error_Handler();
  }
}

void Error_Handler(void)
{
}

/************************ (C) COPYRIGHT STMicroelectronics *****END OF FILE****/
